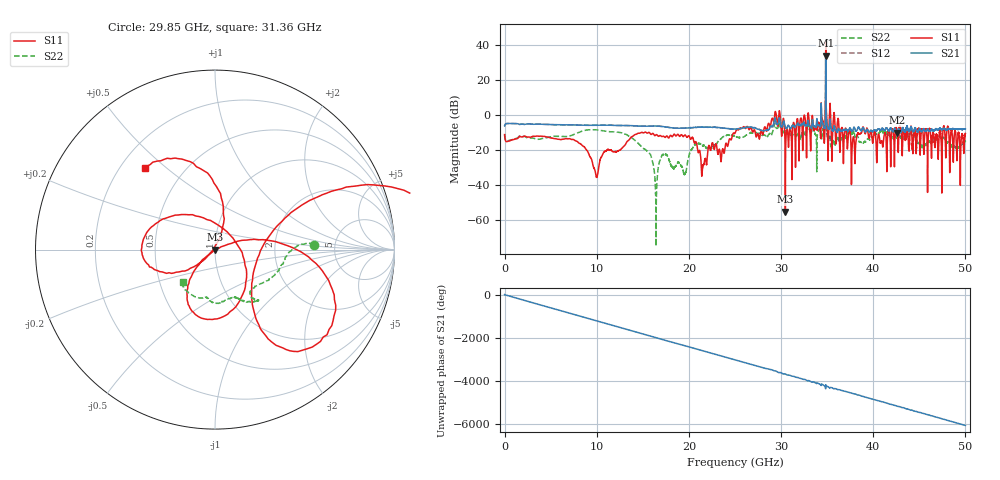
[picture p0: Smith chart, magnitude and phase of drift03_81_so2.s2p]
!Created with skrf (http://scikit-rf.org).
# Hz S RI R 50.0
!freq ReS11 ImS11 ReS21 ImS21 ReS12 ImS12 ReS22 ImS22
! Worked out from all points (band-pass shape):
!   10001 points, 300 kHz to 50 GHz, reference 50 ohm
!   highest |S21| = 33.76 dB at 34.85 GHz (marker M1); lowest = -10.3 dB at 42.56 GHz (marker M2)
!   |S21| within 3 dB of the highest: 34.84402 GHz to 34.84574 GHz (1.716 MHz wide, 0.00493 % of centre)
!   lowest |S11| = -55.6 dB at 30.47 GHz (marker M3), VSWR 1.00, Z = 50.1 - j0.129 ohm
!   |S11| at or under -10 dB: start of sweep to 15.23 GHz; 15.31 GHz to 25.05 GHz (9.739 GHz wide, 48.3 % of centre); 40.22 GHz to 41.61 GHz (1.387 GHz wide, 3.39 % of centre) (the widest 3 of 50)
!   |S22| runs from -75.2 to 24.8 dB; largest |S21 - S12| = 6.9
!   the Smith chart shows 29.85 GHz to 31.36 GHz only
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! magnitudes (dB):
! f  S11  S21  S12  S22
! 300 kHz  -11.4  -6.4  -6.4  -11.3
! 8.335 GHz  -17.1  -6.0  -6.0  -9.6
! 9.955 GHz  -35.7  -6.1  -6.1  -8.7
! 10.91 GHz  -21.0  -6.0  -6.0  -9.4
! 13.85 GHz  -12.5  -6.3  -6.3  -13.5
! 16.67 GHz  -12.3  -6.5  -6.5  -30.3
! 17.34 GHz  -12.7  -6.9  -6.9  -22.9
! 19.56 GHz  -11.6  -7.6  -7.6  -33.9
! 20.21 GHz  -13.9  -7.4  -7.4  -20.5
! 21.55 GHz  -28.7  -7.2  -7.2  -17.7
! 25 GHz  -10.6  -8.3  -8.2  -12.5
! 27.51 GHz  -11.0  -8.3  -8.3  -10.7
! 29.6 GHz  -5.5  -5.7  -5.9  -7.8
! 30.47 GHz  -55.6  -7.2  -7.2  -9.0
! 33.34 GHz  -3.8  -6.8  -6.7  -9.3
! 34.85 GHz  42.5  33.8  33.6  24.8
! 35.63 GHz  -6.6  -9.2  -9.1  -16.2
! 37.84 GHz  -12.8  -8.1  -8.2  -9.7
! 39.07 GHz  -10.2  -9.4  -9.4  -15.4
! 41.67 GHz  -9.1  -9.4  -9.3  -11.4
! 42.56 GHz  -8.3  -10.3  -10.5  -13.4
! 50 GHz  -10.7  -8.2  -8.3  -15.5
